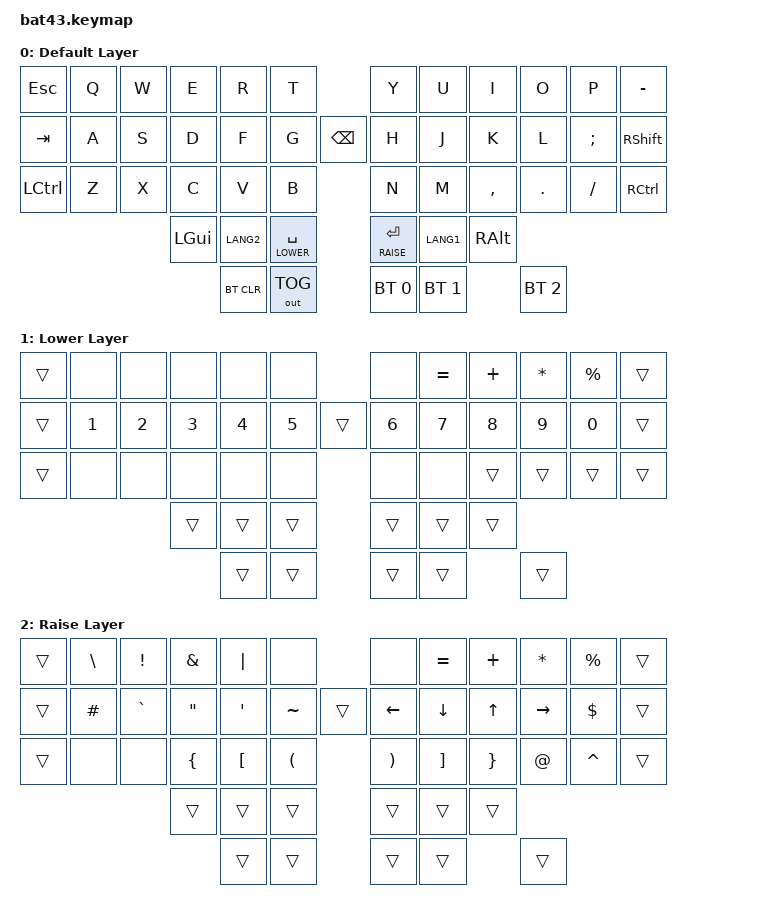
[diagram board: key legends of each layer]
/*
 * Copyright (c) 2021 The ZMK Contributors
 *
 * SPDX-License-Identifier: MIT
 */

#include <behaviors.dtsi>
#include <dt-bindings/zmk/keys.h>
#include <dt-bindings/zmk/bt.h>
#include <dt-bindings/zmk/outputs.h>

#define LOWER 1
#define RAISE 2

#define L_SPC &lt LOWER SPACE
#define R_RET &lt RAISE RET

/ {
    keymap {
        compatible = "zmk,keymap";

        default_layer {
            display-name = "Default Layer";
            bindings = <
&kp ESC      &kp Q     &kp W     &kp E     &kp R     &kp T            &kp Y     &kp U     &kp I     &kp O    &kp P       &kp MINUS
&kp TAB      &kp A     &kp S     &kp D     &kp F     &kp G  &kp BSPC  &kp H     &kp J     &kp K     &kp L    &kp SEMI    &kp RSHFT
&kp LCTRL    &kp Z     &kp X     &kp C     &kp V     &kp B            &kp N     &kp M     &kp COMMA &kp DOT  &kp FSLH    &kp RCTRL
                              &kp LGUI  &kp LANG2    L_SPC            R_RET     &kp LANG1 &kp RALT
                                        &bt BT_CLR   &out OUT_TOG     &bt BT_SEL 0 &bt BT_SEL 1 &bt BT_SEL 2
            >;
        };
        lower_layer {
            display-name = "Lower Layer";
            bindings = <
&trans      &none     &none     &none     &none     &none            &none     &kp EQUAL &kp PLUS  &kp STAR &kp PRCNT   &trans
&trans      &kp N1    &kp N2    &kp N3    &kp N4    &kp N5 &trans    &kp N6    &kp N7    &kp N8    &kp N9   &kp N0      &trans
&trans      &none     &none     &none     &none     &none            &none     &none     &trans    &trans   &trans      &trans
                                &trans    &trans    &trans           &trans    &trans    &trans
                                          &trans    &trans           &trans    &trans    &trans
            >;
        };
        raise_layer {
            display-name = "Raise Layer";
            bindings = <
&trans      &kp BSLH  &kp EXCL  &kp AMPS  &kp PIPE  &none            &none     &kp EQUAL &kp PLUS  &kp STAR &kp PRCNT   &trans
&trans      &kp HASH  &kp GRAVE &kp DQT   &kp SQT   &kp TILDE &trans &kp LEFT  &kp DOWN  &kp UP    &kp RIGHT &kp DLLR   &trans
&trans      &none     &none     &kp LBRC  &kp LBKT  &kp LPAR         &kp RPAR  &kp RBKT  &kp RBRC  &kp AT    &kp CARET  &trans
                                &trans    &trans    &trans           &trans    &trans    &trans
                                          &trans    &trans           &trans    &trans    &trans
            >;
        };
    };
};
